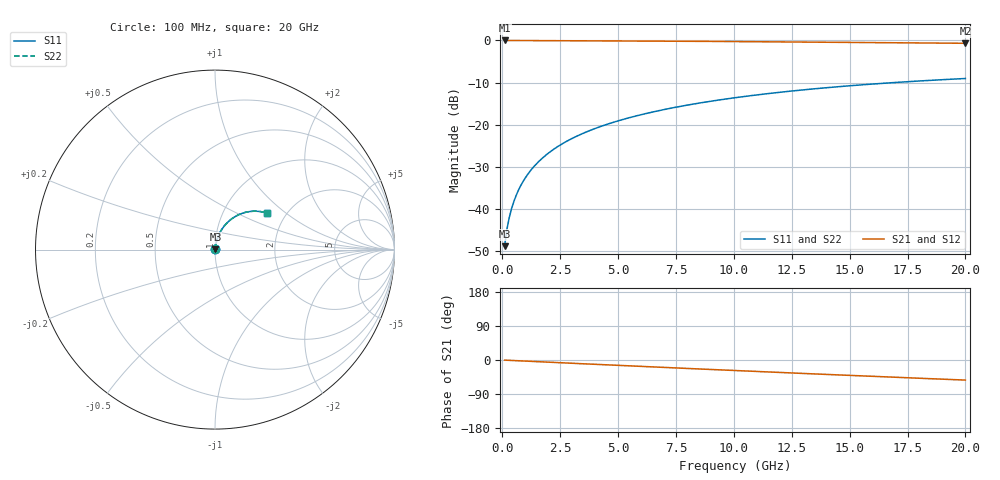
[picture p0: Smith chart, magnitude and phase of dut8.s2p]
! Touchstone file exported from HFSS 2026.1.0
!  File:  C:/ffzhzh/LocalFiles/Ansys_Project_Files/temp_test_BSMRDL_8_1782907318_8056.aedt
!  Generated:  08:03:23 PM Jul  1, 2026
!  Design:  BSMRDL
!  Project:  temp_test_BSMRDL_8_1782907318_8056
! Variables:
!  h_bsmrdl = 4.96um
!  h_ox = 20um
!  h_rdl = 5um
!  h_sub = 80um
!  h_tmrdl = 5um
!  h_tsv = 80um
!  h_via = 3um
!  l_bsmrdl = 863.04um
!  l_sub = 1263.04um
!  l_tmrdl = 200um
!  m_sub = 200um
!  pitch = 48.34um
!  r_tsv = 6um
!  s_tmrdl = 10um
!  w_bsmrdl = 27.32um
!  w_sub = 500um
!  w_tmrdl = 12um
!  x_tsv_center1 = 206um
!  x_tsv_center2 = 1096.36um
!  x_tsv_center3 = 1308.36um
!  x_tsv_center4 = 2198.72um
!  x_tsv_center5 = 2410.72um
!  x_tsv_center6 = 3301.08um
# GHz S MA R 50.000000
! Terminal data exported
! Port[1] = BSM_RDL1_1_T1
! Port[2] = BSM_RDL1_1_T2
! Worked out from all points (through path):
!   200 points, 100 MHz to 20 GHz, reference 50 ohm
!   highest |S21| = -0.02 dB at 100 MHz (marker M1); lowest = -0.7 dB at 20 GHz (marker M2)
!   group delay of S21, straight-line fit = 7.35 ps
!   lowest |S11| = -48.8 dB at 100 MHz (marker M3), VSWR 1.01, Z = 50.3 + j0.265 ohm
!   |S11| at or under -10 dB: start of sweep to 16.91 GHz
!   |S22| runs from -48.8 to -9.0 dB; largest |S21 - S12| = 1.1e-14
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0.1  0.003648 46.3  0.9975 -0.3  0.9975 -0.3  0.003648 46.3
! Gamma 0 0 0 0
! Port Impedance 50 0 50 0
0.2  0.005777 60.9  0.9972 -0.6  0.9972 -0.6  0.005777 60.9
0.3  0.007947 67.4  0.997 -0.9  0.997 -0.9  0.007948 67.4
0.4  0.01014 71.3  0.9969 -1.2  0.9969 -1.2  0.01014 71.3
0.5  0.01235 73.8  0.9968 -1.5  0.9968 -1.5  0.01235 73.8
0.6  0.01458 75.6  0.9967 -1.7  0.9967 -1.7  0.01458 75.6
0.8  0.0191 77.7  0.9965 -2.3  0.9965 -2.3  0.0191 77.7
1.1  0.02592 79.1  0.9962 -3.2  0.9962 -3.2  0.02592 79.1
1.5  0.03502 79.5  0.9956 -4.3  0.9956 -4.3  0.03502 79.5
1.8  0.04183 79.3  0.9951 -5.2  0.9951 -5.2  0.04183 79.4
2.1  0.04859 78.9  0.9946 -6.0  0.9946 -6.0  0.04859 79.0
2.7  0.06197 77.8  0.9933 -7.7  0.9933 -7.7  0.06196 77.8
3.5  0.07947 76.0  0.9913 -10.0  0.9913 -10.0  0.07947 76.0
4.2  0.09447 74.3  0.9893 -11.9  0.9893 -11.9  0.09447 74.3
5  0.1113 72.3  0.9868 -14.1  0.9868 -14.1  0.1113 72.3
5.9  0.1298 70.0  0.9839 -16.6  0.9839 -16.6  0.1298 70.0
6.8  0.1478 67.7  0.9808 -19.1  0.9808 -19.1  0.1478 67.7
8.3  0.1769 63.9  0.9751 -23.1  0.9751 -23.1  0.1769 64.0
10.1  0.2101 59.4  0.9677 -27.9  0.9677 -27.9  0.2101 59.4
13.4  0.2656 51.1  0.9531 -36.5  0.9531 -36.5  0.2656 51.2
16.7  0.3135 43.0  0.9378 -44.9  0.9378 -44.9  0.3135 43.1
20  0.3533 35.1  0.9233 -53.0  0.9233 -53.0  0.3533 35.2
